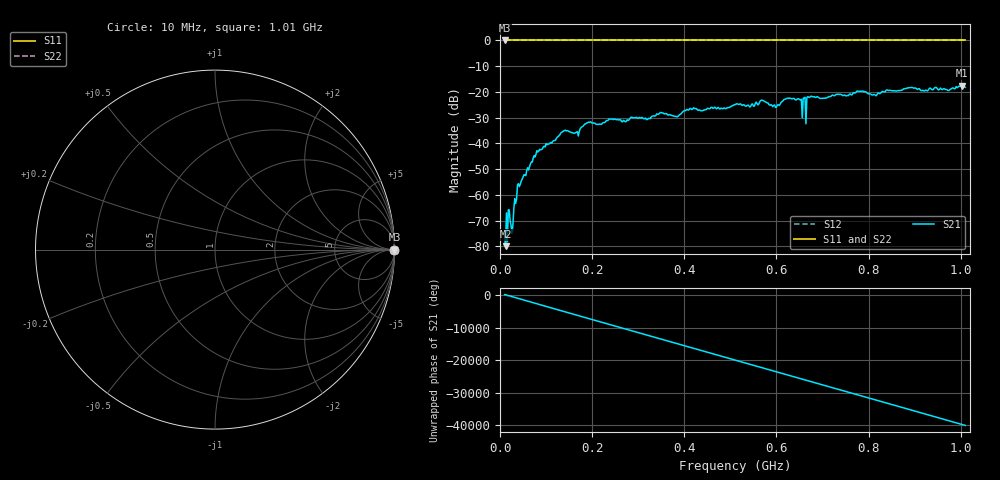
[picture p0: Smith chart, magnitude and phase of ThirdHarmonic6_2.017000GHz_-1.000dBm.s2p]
! 8/17/2025 12:13:06 AM
! C:\ANRITSUVNA\TEMP\TEMP.S2P
! CHANNEL.1
! TR.MEASUREMENT
! RAW.DATA
! RF.CORRECTION.OFF
! AVERAGING.OFF
! IF.BANDWIDTH: 5KHZ
! SWEEPTYPE:  FREQ.SWEEP(Linear)
! Reference Plane Port Info
! PORT:  PORT1  PORT2
! DISTANCE:  0  m  0  m
! TIME:  0  s  0  s
! PHASE.OFFSET:  0  deg.  0  deg.
! LOSS:  0  dB  0  dB
! REF.LOSS:  0  dB  0  dB
! REF.FREQ:  0  Hz  0  Hz
! Power Info
! POWER:  -20  dBm  -20  dBm
! EFF.POWER:  -20  dBm  -20  dBm
! SOURCE.ATTEN:  0  dB  0  dB
! TEST.ATTEN:  0  dB  0  dB
# GHZ S RI R 50.0
! FREQ.GHZ  S11RE  S11IM  S21RE  S21IM  S12RE  S12IM  S22RE  S22IM
!; PortSelection: Port_12
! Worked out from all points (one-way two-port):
!   501 points, 10 MHz to 1.01 GHz, reference 50 ohm
!   highest |S21| = -17.61 dB at 1.002 GHz (marker M1); lowest = -80.0 dB at 12 MHz (marker M2)
!   lowest |S11| = 0.0 dB at 10 MHz (marker M3)
!   |S11| at or under -10 dB: nowhere
!   |S22| runs from 0.0 to 0.0 dB; largest |S21 - S12| = 1.1
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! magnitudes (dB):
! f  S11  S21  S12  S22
! 10 MHz  0.0  -75.2  0.0  0.0
! 12 MHz  0.0  -80.0  0.0  0.0
! 18 MHz  0.0  -65.9  0.0  0.0
! 26 MHz  0.0  -75.1  0.0  0.0
! 36 MHz  0.0  -61.6  0.0  0.0
! 42 MHz  0.0  -56.8  0.0  0.0
! 76 MHz  0.0  -45.3  0.0  0.0
! 136 MHz  0.0  -35.5  0.0  0.0
! 166 MHz  0.0  -35.6  0.0  0.0
! 178 MHz  0.0  -33.6  0.0  0.0
! 344 MHz  0.0  -28.7  0.0  0.0
! 382 MHz  0.0  -29.5  0.0  0.0
! 510 MHz  0.0  -24.9  0.0  0.0
! 570 MHz  0.0  -23.3  0.0  0.0
! 596 MHz  0.0  -25.1  0.0  0.0
! 628 MHz  0.0  -22.4  0.0  0.0
! 650 MHz  0.0  -23.0  0.0  0.0
! 660 MHz  0.0  -22.3  0.0  0.0
! 678 MHz  0.0  -21.8  0.0  0.0
! 844 MHz  0.0  -19.5  0.0  0.0
! 1.002 GHz  0.0  -17.6  0.0  0.0
! 1.01 GHz  0.0  -18.2  0.0  0.0
